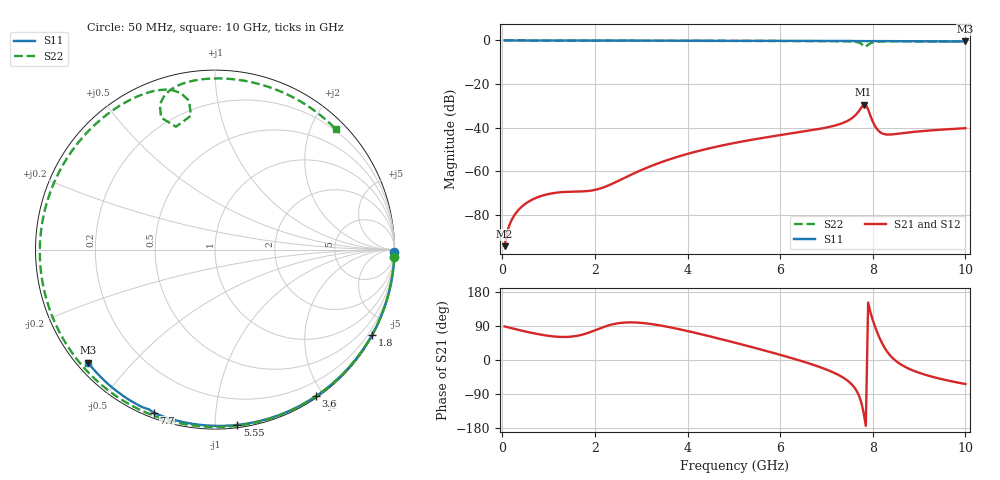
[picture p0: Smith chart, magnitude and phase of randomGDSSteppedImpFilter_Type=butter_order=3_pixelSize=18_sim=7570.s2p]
! freq	dB(S11)	phase(S11)	dB(S12)	phase(S12)
!  dB(S21)	phase(S21)	dB(S22)	phase(S22)
!S-par simulation data
#  GHz  S  DB  R 50
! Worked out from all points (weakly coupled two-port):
!   200 points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, 50 MHz to 10 GHz, reference 50 ohm
!   highest |S21| = -29.53 dB at 7.8 GHz (marker M1); lowest = -94.5 dB at 50 MHz (marker M2)
!   lowest |S11| = -0.5 dB at 10 GHz (marker M3), VSWR 36.79, Z = 1.56 - j19 ohm
!   |S11| at or under -10 dB: nowhere
!   |S22| runs from -2.9 to 0.0 dB; largest |S21 - S12| = 0
!   S11 on the Smith chart (normalised r, x): 50 MHz: open; 1.8 GHz: 0.03, -3.96; 3.6 GHz: 0.02, -1.90; 5.55 GHz: 0.02, -1.14; 7.7 GHz: 0.02, -0.69; 10 GHz: 0.03, -0.38
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0.05  -0.00 -0.8  -94.50 88.5  -94.50 88.5  -0.00 -2.3
0.25  -0.01 -4.0  -80.64 82.4  -80.64 82.4  -0.02 -11.5
0.55  -0.01 -8.8  -74.28 73.8  -74.28 73.8  -0.03 -25.0
0.9  -0.02 -14.3  -71.05 65.5  -71.05 65.5  -0.05 -40.5
1.75  -0.04 -27.6  -69.32 67.6  -69.32 67.6  -0.09 -75.6
1.8  -0.04 -28.4  -69.25 69.4  -69.25 69.4  -0.09 -77.6
2.55  -0.05 -39.8  -64.04 97.8  -64.04 97.8  -0.12 -105.0
3.4  -0.07 -52.5  -56.17 91.4  -56.17 91.4  -0.14 -132.7
3.6  -0.07 -55.4  -54.70 86.9  -54.70 86.9  -0.15 -138.8
4.3  -0.09 -65.5  -50.42 67.8  -50.42 67.8  -0.18 -159.1
5.05  -0.12 -75.9  -46.93 44.9  -46.93 44.9  -0.21 -179.8
5.55  -0.14 -82.7  -45.03 28.8  -45.03 28.8  -0.23 166.7
6.7  -0.19 -97.8  -41.18 -12.1  -41.18 -12.1  -0.30 135.6
7.4  -0.23 -106.7  -37.51 -49.6  -37.51 -49.6  -0.41 114.8
7.7  -0.26 -110.6  -32.46 -93.2  -32.46 -93.2  -0.99 102.3
7.8  -0.30 -111.9  -29.53 -137.6  -29.53 -137.6  -2.41 100.2
7.85  -0.33 -112.3  -29.58 -173.7  -29.58 -173.7  -2.87 107.6
7.9  -0.32 -112.8  -31.73 151.8  -31.73 151.8  -1.99 112.2
8.1  -0.30 -115.2  -40.96 71.6  -40.96 71.6  -0.58 103.4
8.35  -0.31 -118.3  -43.24 15.7  -43.24 15.7  -0.43 94.2
9.15  -0.38 -128.1  -41.49 -39.6  -41.49 -39.6  -0.41 69.8
10  -0.47 -138.3  -40.31 -63.4  -40.31 -63.4  -0.44 44.9
